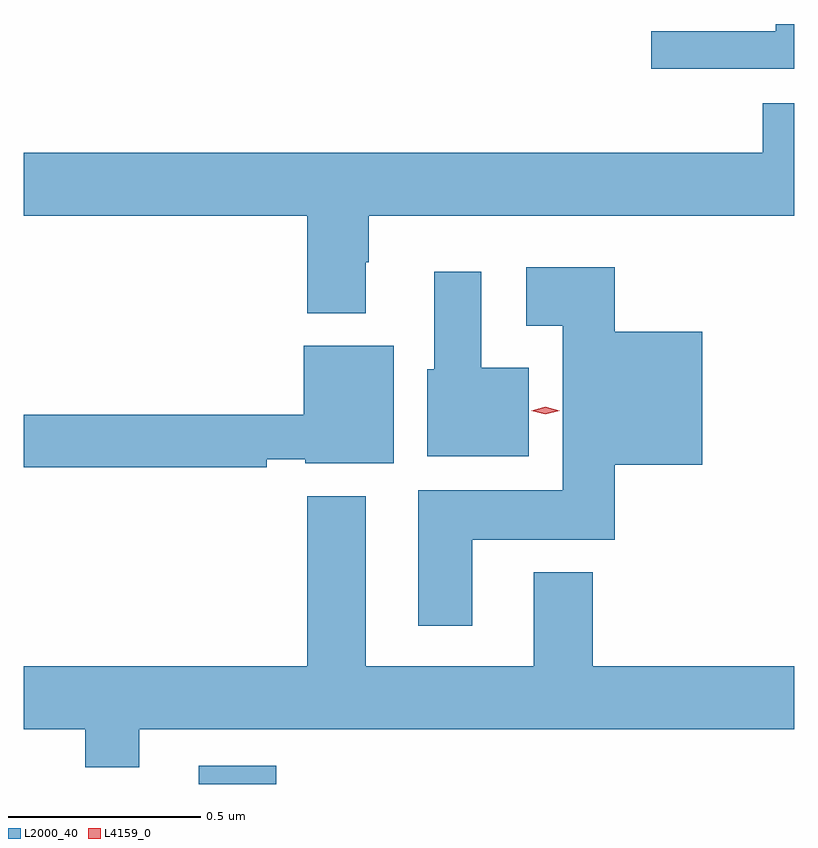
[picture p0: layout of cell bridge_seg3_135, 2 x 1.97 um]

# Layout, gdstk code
import gdstk
lib = gdstk.Library(unit=1e-6, precision=1e-09)
def R(c, l, rs):  # rectangles x0, y0, x1, y1
    for r in rs: c.add(gdstk.rectangle(r[:2], r[2:], *l))
def P(c, l, *ps):  # polygons
    for p in ps: c.add(gdstk.Polygon(p, *l))
L2000_40 = (2000, 40)
L4159_0 = (4159, 0)

bridge_seg3_135 = lib.new_cell('bridge_seg3_135')
R(bridge_seg3_135, L2000_40, [(360.887,668.806,361.088,668.854)])
P(bridge_seg3_135, L2000_40, [(362.433,670.778),(362.384,670.778),(362.384,670.759),(362.061,670.759),(362.061,670.662),(362.433,670.662)],
  [(361.321,670.16),(361.329,670.16),(361.329,670.28),(362.433,670.28),(362.433,670.573),(362.351,670.573),(362.351,670.444),(360.433,670.444),(360.433,670.28),(361.169,670.28),(361.169,670.028),(361.321,670.028)],
  [(361.597,669.44),(361.967,669.44),(361.967,669.635),(362.194,669.635),(362.194,669.979),(361.967,669.979),(361.967,670.147),(361.737,670.147),(361.737,669.995),(361.832,669.995),(361.832,669.568),(361.457,669.568),(361.457,669.216),(361.597,669.216)],
  [(361.744,669.886),(361.621,669.886),(361.621,670.135),(361.499,670.135),(361.499,669.882),(361.481,669.882),(361.481,669.656),(361.744,669.656)],
  [(361.064,669.648),(361.164,669.648),(361.164,669.638),(361.393,669.638),(361.393,669.943),(361.16,669.943),(361.16,669.764),(360.433,669.764),(360.433,669.628),(361.064,669.628)],
  [(360.733,668.948),(362.433,668.948),(362.433,669.112),(361.91,669.112),(361.91,669.355),(361.757,669.355),(361.757,669.112),(361.321,669.112),(361.321,669.553),(361.169,669.553),(361.169,669.112),(360.433,669.112),(360.433,668.948),(360.593,668.948),(360.593,668.849),(360.733,668.849)])
P(bridge_seg3_135, L4159_0, [(361.787,669.765),(361.75,669.775),(361.75,669.775),(361.75,669.775),(361.787,669.785),(361.824,669.775),(361.824,669.775),(361.824,669.775)])

lib.write_gds('bridge_seg3_135.gds')
